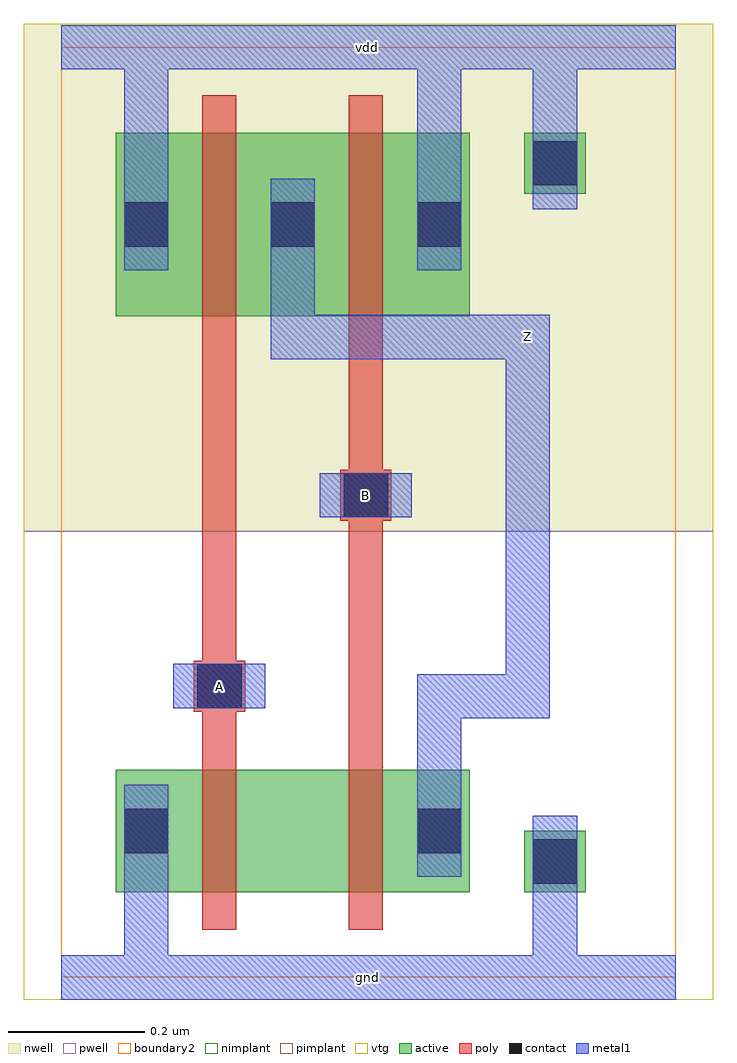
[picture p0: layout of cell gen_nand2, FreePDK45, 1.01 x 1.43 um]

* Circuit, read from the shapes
.subckt gen_nand2 A B Z gnd vdd
M1 sram_1rw_32x16_freepdk45_nmos_m1_w0_180_sm1_dactive_2/D A gnd gnd nfet w=0.18u l=0.05u
M2 Z B sram_1rw_32x16_freepdk45_nmos_m1_w0_180_sm1_dactive_2/D gnd nfet w=0.18u l=0.05u
M3 Z A vdd vdd pfet w=0.27u l=0.05u
M4 vdd B Z vdd pfet w=0.27u l=0.05u
.ends

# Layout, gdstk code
import gdstk
lib = gdstk.Library(unit=1e-6, precision=5e-10)
def R(c, l, rs):  # rectangles x0, y0, x1, y1
    for r in rs: c.add(gdstk.rectangle(r[:2], r[2:], *l))
active = (1, 0)
pwell = (2, 0)
nwell = (3, 0)
nimplant = (4, 0)
pimplant = (5, 0)
vtg = (6, 0)
poly = (9, 0)
contact = (10, 0)
metal1 = (11, 0)
boundary2 = (239, 0)

sram_1rw_32x16_freepdk45 = lib.new_cell('sram_1rw_32x16_freepdk45_contact_11')
R(sram_1rw_32x16_freepdk45, active, [(0,0.0225,0.09,0.1125)])
R(sram_1rw_32x16_freepdk45, nwell, [(-0.055,-0.0325,0.145,0.1675)])
R(sram_1rw_32x16_freepdk45, pimplant, [(0,0.0225,0.09,0.1125)])
R(sram_1rw_32x16_freepdk45, contact, [(0.0125,0.035,0.0775,0.1)])
R(sram_1rw_32x16_freepdk45, metal1, [(0.0125,0,0.0775,0.135)])
R(sram_1rw_32x16_freepdk45, boundary2, [(-0.055,-0.0325,0.145,0.1675)])

c_sram_1rw_32x16_freepdk45 = lib.new_cell('sram_1rw_32x16_freepdk45_pmos_m1_w0_270_sm1_dm1')
R(c_sram_1rw_32x16_freepdk45, active, [(0,0,0.305,0.27)])
R(c_sram_1rw_32x16_freepdk45, nwell, [(-0.08,-0.08,0.385,0.35)])
R(c_sram_1rw_32x16_freepdk45, pimplant, [(0,0,0.305,0.27)])
R(c_sram_1rw_32x16_freepdk45, vtg, [(-0.08,-0.08,0.385,0.35)])
R(c_sram_1rw_32x16_freepdk45, poly, [(0.1275,-0.055,0.1775,0.325), (0.1275,-0.055,0.1775,0.325)])
R(c_sram_1rw_32x16_freepdk45, metal1, [(0.0125,0.0675,0.0775,0.2025), (0.2275,0.0675,0.2925,0.2025)])
R(c_sram_1rw_32x16_freepdk45, boundary2, [(-0.08,-0.08,0.385,0.35)])
c_sram_1rw_32x16_freepdk45.add(gdstk.Reference(sram_1rw_32x16_freepdk45, (0,0.0675)))
c_sram_1rw_32x16_freepdk45.add(gdstk.Reference(sram_1rw_32x16_freepdk45, (0.215,0.0675)))
c_sram_1rw_32x16_freepdk45.add(gdstk.Label('G', (0.1525,0.135), layer=9, texttype=0))
c_sram_1rw_32x16_freepdk45.add(gdstk.Label('S', (0.045,0.135), layer=11, texttype=0))
c_sram_1rw_32x16_freepdk45.add(gdstk.Label('D', (0.26,0.135), layer=11, texttype=0))

c_sram_1rw_32x16_freepdk45_ = lib.new_cell('sram_1rw_32x16_freepdk45_contact_10')
R(c_sram_1rw_32x16_freepdk45_, active, [(0,0.0225,0.09,0.1125)])
R(c_sram_1rw_32x16_freepdk45_, pwell, [(-0.055,-0.0325,0.145,0.1675)])
R(c_sram_1rw_32x16_freepdk45_, nimplant, [(0,0.0225,0.09,0.1125)])
R(c_sram_1rw_32x16_freepdk45_, contact, [(0.0125,0.035,0.0775,0.1)])
R(c_sram_1rw_32x16_freepdk45_, metal1, [(0.0125,0,0.0775,0.135)])
R(c_sram_1rw_32x16_freepdk45_, boundary2, [(-0.055,-0.0325,0.145,0.1675)])

c_sram_1rw_32x16_freepdk45__ = lib.new_cell('sram_1rw_32x16_freepdk45_nmos_m1_w0_180_sm1_dactive')
R(c_sram_1rw_32x16_freepdk45__, active, [(0,0,0.305,0.18), (0.215,0.045,0.305,0.135)])
R(c_sram_1rw_32x16_freepdk45__, pwell, [(-0.08,-0.08,0.385,0.26)])
R(c_sram_1rw_32x16_freepdk45__, nimplant, [(0,0,0.305,0.18)])
R(c_sram_1rw_32x16_freepdk45__, vtg, [(-0.08,-0.08,0.385,0.26)])
R(c_sram_1rw_32x16_freepdk45__, poly, [(0.1275,-0.055,0.1775,0.235), (0.1275,-0.055,0.1775,0.235)])
R(c_sram_1rw_32x16_freepdk45__, metal1, [(0.0125,0.0225,0.0775,0.1575)])
R(c_sram_1rw_32x16_freepdk45__, boundary2, [(-0.08,-0.08,0.385,0.26)])
c_sram_1rw_32x16_freepdk45__.add(gdstk.Reference(c_sram_1rw_32x16_freepdk45_, (0,0.0225)))
c_sram_1rw_32x16_freepdk45__.add(gdstk.Label('G', (0.1525,0.09), layer=9, texttype=0))
c_sram_1rw_32x16_freepdk45__.add(gdstk.Label('S', (0.045,0.09), layer=11, texttype=0))
c_sram_1rw_32x16_freepdk45__.add(gdstk.Label('D', (0.26,0.09), layer=1, texttype=0))

c_sram_1rw_32x16_freepdk45___ = lib.new_cell('sram_1rw_32x16_freepdk45_nmos_m1_w0_180_sactive_dm1')
R(c_sram_1rw_32x16_freepdk45___, active, [(0,0,0.305,0.18), (0,0.045,0.09,0.135)])
R(c_sram_1rw_32x16_freepdk45___, pwell, [(-0.08,-0.08,0.385,0.26)])
R(c_sram_1rw_32x16_freepdk45___, nimplant, [(0,0,0.305,0.18)])
R(c_sram_1rw_32x16_freepdk45___, vtg, [(-0.08,-0.08,0.385,0.26)])
R(c_sram_1rw_32x16_freepdk45___, poly, [(0.1275,-0.055,0.1775,0.235), (0.1275,-0.055,0.1775,0.235)])
R(c_sram_1rw_32x16_freepdk45___, metal1, [(0.2275,0.0225,0.2925,0.1575)])
R(c_sram_1rw_32x16_freepdk45___, boundary2, [(-0.08,-0.08,0.385,0.26)])
c_sram_1rw_32x16_freepdk45___.add(gdstk.Reference(c_sram_1rw_32x16_freepdk45_, (0.215,0.0225)))
c_sram_1rw_32x16_freepdk45___.add(gdstk.Label('G', (0.1525,0.09), layer=9, texttype=0))
c_sram_1rw_32x16_freepdk45___.add(gdstk.Label('S', (0.045,0.09), layer=1, texttype=0))
c_sram_1rw_32x16_freepdk45___.add(gdstk.Label('D', (0.26,0.09), layer=11, texttype=0))

c_sram_1rw_32x16_freepdk45____ = lib.new_cell('sram_1rw_32x16_freepdk45_contact_12')
R(c_sram_1rw_32x16_freepdk45____, active, [(0,0.0225,0.09,0.1125)])
R(c_sram_1rw_32x16_freepdk45____, nwell, [(-0.055,-0.0325,0.145,0.1675)])
R(c_sram_1rw_32x16_freepdk45____, nimplant, [(0,0.0225,0.09,0.1125)])
R(c_sram_1rw_32x16_freepdk45____, contact, [(0.0125,0.035,0.0775,0.1)])
R(c_sram_1rw_32x16_freepdk45____, metal1, [(0.0125,0,0.0775,0.135)])
R(c_sram_1rw_32x16_freepdk45____, boundary2, [(-0.055,-0.0325,0.145,0.1675)])

c_sram_1rw_32x16_freepdk45_____ = lib.new_cell('sram_1rw_32x16_freepdk45_contact_13')
R(c_sram_1rw_32x16_freepdk45_____, active, [(0,0.0225,0.09,0.1125)])
R(c_sram_1rw_32x16_freepdk45_____, pwell, [(-0.055,-0.0325,0.145,0.1675)])
R(c_sram_1rw_32x16_freepdk45_____, pimplant, [(0,0.0225,0.09,0.1125)])
R(c_sram_1rw_32x16_freepdk45_____, contact, [(0.0125,0.035,0.0775,0.1)])
R(c_sram_1rw_32x16_freepdk45_____, metal1, [(0.0125,0,0.0775,0.135)])
R(c_sram_1rw_32x16_freepdk45_____, boundary2, [(-0.055,-0.0325,0.145,0.1675)])

c_sram_1rw_32x16_freepdk45______ = lib.new_cell('sram_1rw_32x16_freepdk45_contact_14')
R(c_sram_1rw_32x16_freepdk45______, poly, [(0.03,0,0.105,0.075)])
R(c_sram_1rw_32x16_freepdk45______, contact, [(0.035,0.005,0.1,0.07)])
R(c_sram_1rw_32x16_freepdk45______, metal1, [(0,0.005,0.135,0.07)])
R(c_sram_1rw_32x16_freepdk45______, boundary2, [(0,0,0.135,0.075)])

gen_nand2 = lib.new_cell('gen_nand2')
R(gen_nand2, pwell, [(-0.055,-0.0325,0.9575,0.655)])
R(gen_nand2, nwell, [(-0.055,0.655,0.9575,1.4)])
R(gen_nand2, vtg, [(-0.055,-0.0325,0.9575,0.655), (-0.055,0.655,0.9575,1.4)])
R(gen_nand2, poly, [(0.2075,0.36,0.2575,0.915), (0.4225,0.36,0.4725,0.915), (0.2075,0.39,0.2325,0.465), (0.4225,0.67,0.4475,0.745)])
R(gen_nand2, metal1, [(0,-0.0325,0.9025,0.0325), (0.0925,-0.0325,0.1575,0.1475), (0.6925,0,0.7575,0.17), (0.5225,0.2825,0.5875,0.4125), (0.5225,0.38,0.5875,0.445), (0.555,0.38,0.685,0.445), (0.6525,0.38,0.7175,0.445), (0.165,0.395,0.3,0.46), (0.6525,0.4125,0.7175,0.94), (0.38,0.675,0.515,0.74), (0.3075,0.9075,0.3725,0.9725), (0.34,0.9075,0.685,0.9725), (0.6525,0.9075,0.7175,0.9725), (0.3075,0.94,0.3725,1.0375), (0.0925,1.0375,0.1575,1.3975), (0.5225,1.0375,0.5875,1.3975), (0.6925,1.195,0.7575,1.365), (0,1.3325,0.9025,1.3975)])
R(gen_nand2, boundary2, [(0,0,0.9025,1.365), (0,0,0.9025,1.365)])
gen_nand2.add(gdstk.Reference(c_sram_1rw_32x16_freepdk45, (0.08,0.97)))
gen_nand2.add(gdstk.Reference(c_sram_1rw_32x16_freepdk45, (0.295,0.97)))
gen_nand2.add(gdstk.Reference(c_sram_1rw_32x16_freepdk45__, (0.08,0.125)))
gen_nand2.add(gdstk.Reference(c_sram_1rw_32x16_freepdk45___, (0.295,0.125)))
gen_nand2.add(gdstk.Reference(c_sram_1rw_32x16_freepdk45____, (0.68,1.1275)))
gen_nand2.add(gdstk.Reference(c_sram_1rw_32x16_freepdk45_____, (0.68,0.1025)))
gen_nand2.add(gdstk.Reference(c_sram_1rw_32x16_freepdk45______, (0.165,0.39)))
gen_nand2.add(gdstk.Reference(c_sram_1rw_32x16_freepdk45______, (0.38,0.67)))
gen_nand2.add(gdstk.Label('Z', (0.685,0.94), layer=11, texttype=0))
gen_nand2.add(gdstk.Label('gnd', (0.45,0), layer=11, texttype=0))
gen_nand2.add(gdstk.Label('vdd', (0.45,1.365), layer=11, texttype=0))
gen_nand2.add(gdstk.Label('A', (0.2325,0.4275), layer=11, texttype=0))
gen_nand2.add(gdstk.Label('B', (0.4475,0.7075), layer=11, texttype=0))

lib.write_gds('gen_nand2.gds')
